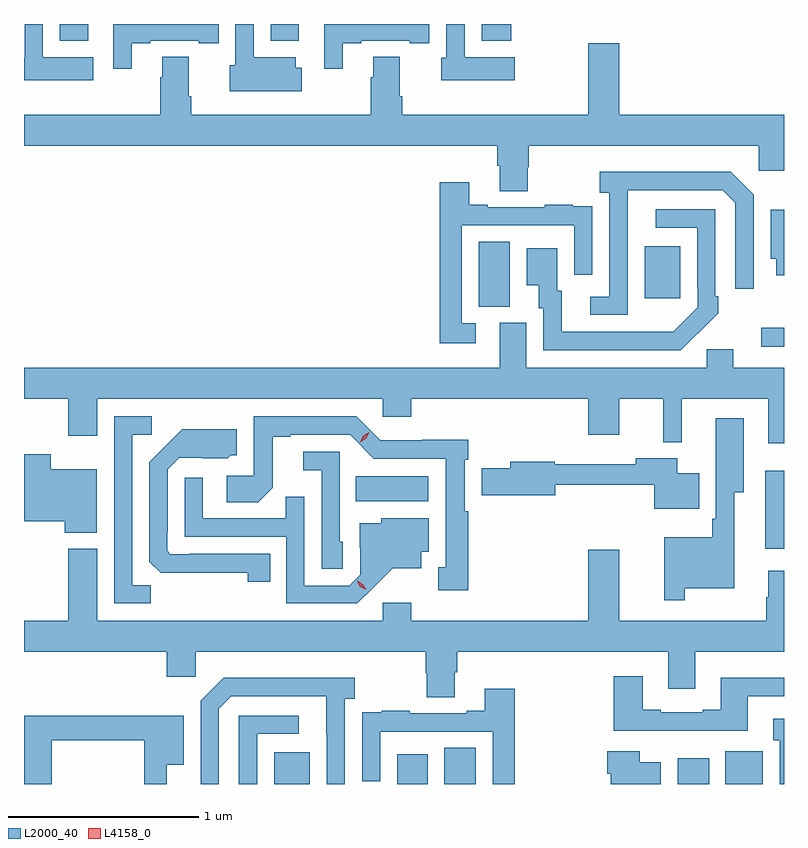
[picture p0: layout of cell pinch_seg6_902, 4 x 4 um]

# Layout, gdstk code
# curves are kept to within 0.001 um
import gdstk
lib = gdstk.Library(unit=1e-6, precision=1e-09)
def R(c, l, rs):  # rectangles x0, y0, x1, y1
    for r in rs: c.add(gdstk.rectangle(r[:2], r[2:], *l))
def P(c, l, *ps):  # polygons
    for p in ps: c.add(gdstk.Polygon(p, *l))
L2000_40 = (2000, 40)
L4158_0 = (4158, 0)

pinch_seg6_902 = lib.new_cell('pinch_seg6_902')
R(pinch_seg6_902, L2000_40, [(331.187,937.317,331.375,937.483), (331.835,937.317,331.996,937.474), (332.084,937.317,332.248,937.508), (333.311,937.317,333.478,937.453), (333.563,937.317,333.759,937.489), (333.773,938.555,333.871,938.965), (331.618,938.804,331.999,938.938), (333.75,939.618,333.871,939.719), (332.264,939.829,332.428,940.172), (333.137,939.873,333.325,940.147), (330.059,941.228,330.208,941.317), (331.169,941.228,331.318,941.317), (332.279,941.228,332.436,941.317)])
P(pinch_seg6_902, L2000_40, [(331.333,941.086),(331.3,941.086),(331.3,941.143),(331.08,941.143),(331.08,941.317),(330.984,941.317),(330.984,941.099),(330.953,941.099),(330.953,940.964),(331.333,940.964)],
  [(332.455,941.143),(332.19,941.143),(332.19,941.317),(332.094,941.317),(332.094,941.139),(332.066,941.139),(332.066,941.021),(332.455,941.021)],
  [(330.235,941.143),(329.97,941.143),(329.97,941.317),(329.874,941.317),(329.874,941.139),(329.871,941.139),(329.871,941.021),(330.235,941.021)],
  [(330.439,941.217),(330.535,941.217),(330.535,941.229),(330.791,941.229),(330.791,941.217),(330.895,941.217),(330.895,941.317),(330.341,941.317),(330.341,941.082),(330.439,941.082)],
  [(331.549,941.217),(331.645,941.217),(331.645,941.229),(331.901,941.229),(331.901,941.217),(332.005,941.217),(332.005,941.317),(331.451,941.317),(331.451,941.082),(331.549,941.082)],
  [(332.523,940.563),(332.528,940.563),(332.528,940.676),(333.738,940.676),(333.738,940.545),(333.871,940.545),(333.871,940.84),(333.004,940.84),(333.004,941.215),(332.84,941.215),(332.84,940.84),(331.862,940.84),(331.862,940.936),(331.849,940.936),(331.849,941.144),(331.709,941.144),(331.709,941.036),(331.697,941.036),(331.697,940.84),(330.752,940.84),(330.752,940.936),(330.739,940.936),(330.739,941.144),(330.599,941.144),(330.599,941.036),(330.587,941.036),(330.587,940.84),(329.871,940.84),(329.871,940.676),(332.363,940.676),(332.363,940.57),(332.375,940.57),(332.375,940.438),(332.523,940.438)],
  [(333.048,940.243),(333.049,940.443),(333.549,940.443),(333.615,940.377),(333.615,939.924),(333.711,939.924),(333.711,940.419),(333.59,940.54),(332.901,940.54),(332.901,940.43),(332.952,940.43),(332.952,939.882),(332.85,939.882),(332.85,939.786),(333.048,939.786)],
  [(332.248,939.741),(332.175,939.741),(332.175,940.257),(332.766,940.257),(332.766,939.996),(332.862,939.996),(332.862,940.25),(332.861,940.25),(332.861,940.359),(332.759,940.359),(332.759,940.366),(332.611,940.366),(332.611,940.353),(332.311,940.353),(332.311,940.366),(332.215,940.366),(332.215,940.483),(332.059,940.483),(332.059,939.636),(332.248,939.636)],
  [(333.419,939.691),(333.42,939.69),(333.525,939.795),(333.525,939.883),(333.51,939.883),(333.51,940.341),(333.195,940.341),(333.195,940.245),(333.414,940.245),(333.414,939.925),(333.417,939.925),(333.417,939.825),(333.289,939.697),(332.701,939.696),(332.701,939.912),(332.677,939.912),(332.677,940.138),(332.516,940.138),(332.516,939.941),(332.579,939.941),(332.579,939.822),(332.604,939.822),(332.604,939.6),(333.328,939.6)],
  [(333.871,940.339),(333.8,940.339),(333.8,940.082),(333.83,940.082),(333.83,939.995),(333.871,939.995)],
  [(333.871,939.508),(333.604,939.508),(333.604,939.606),(333.465,939.606),(333.465,939.508),(332.515,939.508),(332.515,939.744),(332.375,939.744),(332.375,939.508),(329.871,939.508),(329.871,939.344),(330.104,939.344),(330.104,939.15),(330.256,939.15),(330.256,939.344),(331.758,939.344),(331.758,939.251),(331.91,939.251),(331.91,939.344),(332.84,939.344),(332.84,939.156),(333.004,939.156),(333.004,939.344),(333.235,939.344),(333.235,939.116),(333.334,939.116),(333.334,939.344),(333.788,939.344),(333.788,939.111),(333.871,939.111)],
  [(330.537,938.363),(330.441,938.363),(330.441,939.156),(330.544,939.156),(330.544,939.252),(330.345,939.252),(330.345,938.268),(330.537,938.268)],
  [(332.209,938.753),(332.191,938.753),(332.191,939.023),(332.209,939.023),(332.209,939.128),(331.968,939.128),(331.968,939.126),(331.746,939.126),(331.62,939.252),(331.08,939.252),(331.08,938.94),(330.939,938.94),(330.939,938.8),(331.103,938.8),(331.179,938.876),(331.179,939.144),(331.273,939.144),(331.273,939.156),(331.587,939.156),(331.713,939.03),(332.09,939.03),(332.09,938.457),(332.051,938.457),(332.051,938.337),(332.209,938.337)],
  [(333.349,938.348),(333.61,938.348),(333.61,938.852),(333.658,938.852),(333.658,939.241),(333.512,939.241),(333.512,938.713),(333.493,938.713),(333.493,938.617),(333.24,938.617),(333.24,938.283),(333.349,938.283)],
  [(331.166,938.529),(330.742,938.529),(330.742,938.526),(330.642,938.526),(330.624,938.544),(330.624,938.644),(330.627,938.644),(330.627,938.973),(330.687,939.033),(330.944,939.032),(330.96,939.048),(330.991,939.048),(330.991,939.184),(330.703,939.184),(330.531,939.01),(330.531,938.488),(330.59,938.429),(331.048,938.428),(331.048,938.382),(331.166,938.382)],
  [(331.548,938.592),(331.533,938.592),(331.533,939.066),(331.341,939.066),(331.341,938.969),(331.437,938.969),(331.437,938.449),(331.548,938.449)],
  [(330.253,938.974),(330.012,938.974),(330.012,939.052),(329.871,939.052),(329.871,938.699),(330.086,938.699),(330.086,938.639),(330.253,938.639)],
  [(333.424,938.953),(333.31,938.953),(333.31,939.031),(333.092,939.031),(333.092,939.001),(332.664,939.001),(332.664,939.013),(332.429,939.013),(332.429,938.979),(332.28,938.979),(332.28,938.837),(332.668,938.837),(332.668,938.892),(333.188,938.892),(333.188,938.765),(333.424,938.765)],
  [(331.708,938.351),(331.811,938.453),(331.963,938.453),(331.963,938.54),(332.002,938.54),(332.002,938.716),(331.752,938.716),(331.752,938.689),(331.637,938.689),(331.637,938.56),(331.641,938.56),(331.641,938.418),(331.584,938.361),(331.347,938.361),(331.347,938.828),(331.249,938.828),(331.249,938.715),(330.813,938.715),(330.813,938.929),(330.717,938.929),(330.717,938.619),(331.251,938.619),(331.251,938.268),(331.624,938.268)],
  [(333.871,938.44),(333.788,938.44),(333.788,938.3),(333.777,938.3),(333.777,938.176),(333.004,938.176),(333.004,938.551),(332.84,938.551),(332.84,938.176),(331.91,938.176),(331.91,938.272),(331.758,938.272),(331.758,938.176),(330.256,938.176),(330.256,938.554),(330.104,938.554),(330.104,938.176),(329.871,938.176),(329.871,938.012),(330.623,938.012),(330.623,937.881),(330.774,937.881),(330.774,938.012),(331.985,938.012),(331.985,937.899),(331.99,937.899),(331.99,937.774),(332.137,937.774),(332.137,937.906),(332.15,937.906),(332.15,938.012),(333.263,938.012),(333.263,937.818),(333.403,937.818),(333.403,938.012),(333.871,938.012)],
  [(333.679,937.779),(333.871,937.779),(333.871,937.876),(333.539,937.876),(333.539,937.708),(333.443,937.708),(333.443,937.695),(333.223,937.695),(333.223,937.708),(333.127,937.708),(333.127,937.885),(332.975,937.885),(332.975,937.598),(333.679,937.598)],
  [(330.897,937.713),(330.963,937.779),(331.463,937.779),(331.464,937.317),(331.56,937.317),(331.56,937.766),(331.612,937.766),(331.612,937.876),(330.922,937.876),(330.801,937.755),(330.801,937.317),(330.897,937.317)],
  [(332.453,937.819),(332.297,937.819),(332.297,937.702),(332.201,937.702),(332.201,937.689),(331.901,937.689),(331.901,937.702),(331.753,937.702),(331.753,937.695),(331.651,937.695),(331.651,937.586),(331.65,937.586),(331.65,937.332),(331.746,937.332),(331.746,937.593),(332.337,937.593),(332.337,937.317),(332.453,937.317)],
  [(331.098,937.581),(331.318,937.581),(331.318,937.677),(331.002,937.677),(331.002,937.317),(331.098,937.317)],
  [(330.017,937.546),(330.505,937.546),(330.505,937.317),(330.623,937.317),(330.623,937.418),(330.712,937.418),(330.712,937.675),(329.871,937.675),(329.871,937.317),(330.017,937.317)],
  [(333.871,937.66),(333.815,937.66),(333.815,937.547),(333.848,937.547),(333.848,937.317),(333.871,937.317)],
  [(333.223,937.432),(333.112,937.432),(333.112,937.489),(332.942,937.489),(332.942,937.371),(332.96,937.371),(332.96,937.317),(333.223,937.317)])
P(pinch_seg6_902, L4158_0, [(331.64,939.117),(331.64,939.117),(331.657,939.149),(331.688,939.169),(331.689,939.169),(331.689,939.168),(331.672,939.136),(331.64,939.117)],
  [(331.672,938.339),(331.641,938.355),(331.624,938.385),(331.624,938.386),(331.625,938.386),(331.655,938.369),(331.672,938.339),(331.672,938.339)])

lib.write_gds('pinch_seg6_902.gds')
